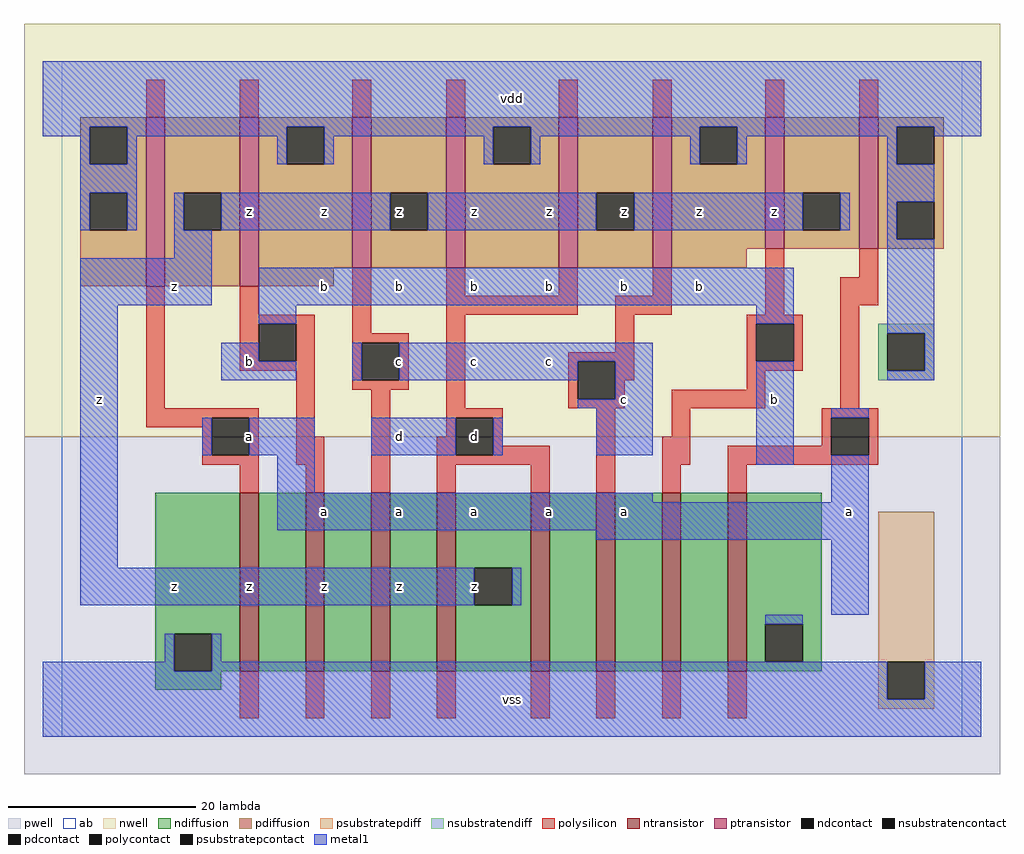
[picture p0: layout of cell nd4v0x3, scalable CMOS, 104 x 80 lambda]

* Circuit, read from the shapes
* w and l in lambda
.subckt nd4v0x3 a b c d vdd vss z
M1 n1 a vss vss nfet w=19 l=2
M2 n2 b n1 vss nfet w=19 l=2
M3 n3 c n2 vss nfet w=19 l=2
M4 z d n3 vss nfet w=19 l=2
M5 n4 d z vss nfet w=19 l=2
M6 n5 c n4 vss nfet w=19 l=2
M7 n6 b n5 vss nfet w=19 l=2
M8 vss a n6 vss nfet w=19 l=2
M9 z a vdd vdd pfet w=18 l=2
M10 vdd b z vdd pfet w=18 l=2
M11 z c vdd vdd pfet w=16 l=2 m=2
M12 vdd d z vdd pfet w=16 l=2 m=2
M13 z b vdd vdd pfet w=14 l=2
M14 vdd a z vdd pfet w=14 l=2
.ends

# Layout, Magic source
magic
tech scmos
<< ab >>
rect 0 0 96 72
<< pwell >>
rect -4 -4 100 32
<< nwell >>
rect -4 32 100 76
<< polysilicon >>
rect 9 66 11 70
rect 19 66 21 70
rect 31 66 33 70
rect 41 66 43 70
rect 53 66 55 70
rect 63 66 65 70
rect 75 66 77 70
rect 85 66 87 70
rect 9 35 11 48
rect 19 45 21 48
rect 19 44 27 45
rect 19 40 21 44
rect 25 40 27 44
rect 19 39 27 40
rect 9 34 21 35
rect 9 33 16 34
rect 15 30 16 33
rect 20 30 21 34
rect 15 29 21 30
rect 25 32 27 39
rect 31 43 33 50
rect 41 47 43 50
rect 53 47 55 50
rect 63 47 65 50
rect 41 45 55 47
rect 59 45 65 47
rect 75 45 77 52
rect 85 49 87 52
rect 83 46 87 49
rect 31 42 37 43
rect 31 38 32 42
rect 36 38 37 42
rect 31 37 37 38
rect 25 29 28 32
rect 19 26 21 29
rect 26 26 28 29
rect 33 26 35 37
rect 41 35 43 45
rect 59 41 61 45
rect 54 40 61 41
rect 54 36 55 40
rect 59 38 61 40
rect 73 44 79 45
rect 73 40 74 44
rect 78 40 79 44
rect 73 39 79 40
rect 59 36 60 38
rect 73 37 75 39
rect 54 35 60 36
rect 65 35 75 37
rect 83 35 85 46
rect 41 34 47 35
rect 41 32 42 34
rect 40 30 42 32
rect 46 31 47 34
rect 46 30 52 31
rect 40 29 52 30
rect 40 26 42 29
rect 50 26 52 29
rect 57 26 59 35
rect 65 32 67 35
rect 64 29 67 32
rect 81 34 87 35
rect 81 31 82 34
rect 71 30 82 31
rect 86 30 87 34
rect 71 29 87 30
rect 64 26 66 29
rect 71 26 73 29
rect 19 2 21 7
rect 26 2 28 7
rect 33 2 35 7
rect 40 2 42 7
rect 50 2 52 7
rect 57 2 59 7
rect 64 2 66 7
rect 71 2 73 7
<< ndiffusion >>
rect 10 11 19 26
rect 10 7 12 11
rect 16 7 19 11
rect 21 7 26 26
rect 28 7 33 26
rect 35 7 40 26
rect 42 18 50 26
rect 42 14 44 18
rect 48 14 50 18
rect 42 7 50 14
rect 52 7 57 26
rect 59 7 64 26
rect 66 7 71 26
rect 73 12 81 26
rect 73 8 75 12
rect 79 8 81 12
rect 73 7 81 8
rect 10 5 17 7
<< pdiffusion >>
rect 2 65 9 66
rect 2 61 3 65
rect 7 61 9 65
rect 2 58 9 61
rect 2 54 3 58
rect 7 54 9 58
rect 2 48 9 54
rect 11 58 19 66
rect 11 54 13 58
rect 17 54 19 58
rect 11 48 19 54
rect 21 65 31 66
rect 21 61 24 65
rect 28 61 31 65
rect 21 50 31 61
rect 33 58 41 66
rect 33 54 35 58
rect 39 54 41 58
rect 33 50 41 54
rect 43 65 53 66
rect 43 61 46 65
rect 50 61 53 65
rect 43 50 53 61
rect 55 58 63 66
rect 55 54 57 58
rect 61 54 63 58
rect 55 50 63 54
rect 65 65 75 66
rect 65 61 68 65
rect 72 61 75 65
rect 65 52 75 61
rect 77 58 85 66
rect 77 54 79 58
rect 83 54 85 58
rect 77 52 85 54
rect 87 65 94 66
rect 87 61 89 65
rect 93 61 94 65
rect 87 57 94 61
rect 87 53 89 57
rect 93 53 94 57
rect 87 52 94 53
rect 65 50 73 52
rect 21 48 29 50
<< metal1 >>
rect -2 65 98 72
rect -2 64 3 65
rect 2 61 3 64
rect 7 64 24 65
rect 7 61 8 64
rect 23 61 24 64
rect 28 64 46 65
rect 28 61 29 64
rect 45 61 46 64
rect 50 64 68 65
rect 50 61 51 64
rect 67 61 68 64
rect 72 64 89 65
rect 72 61 73 64
rect 88 61 89 64
rect 93 64 98 65
rect 2 58 8 61
rect 2 54 3 58
rect 7 54 8 58
rect 12 54 13 58
rect 17 54 35 58
rect 39 54 57 58
rect 61 54 79 58
rect 83 54 84 58
rect 88 57 93 61
rect 12 51 16 54
rect 2 46 16 51
rect 88 53 89 57
rect 21 46 78 50
rect 2 18 6 46
rect 21 44 25 46
rect 17 40 21 42
rect 74 44 78 46
rect 17 38 25 40
rect 31 38 32 42
rect 36 40 63 42
rect 36 38 55 40
rect 59 36 63 40
rect 55 35 63 36
rect 15 30 16 34
rect 20 30 27 34
rect 33 30 42 34
rect 46 30 47 34
rect 57 30 63 35
rect 23 26 27 30
rect 74 29 78 40
rect 88 43 93 53
rect 92 39 93 43
rect 88 38 93 39
rect 82 34 86 35
rect 23 25 63 26
rect 82 25 86 30
rect 23 22 86 25
rect 57 21 86 22
rect 2 14 44 18
rect 48 14 49 18
rect 82 13 86 21
rect 75 12 79 13
rect 11 8 12 11
rect -2 7 12 8
rect 16 8 17 11
rect 16 7 88 8
rect -2 4 88 7
rect 92 4 98 8
rect -2 0 98 4
<< ntransistor >>
rect 19 7 21 26
rect 26 7 28 26
rect 33 7 35 26
rect 40 7 42 26
rect 50 7 52 26
rect 57 7 59 26
rect 64 7 66 26
rect 71 7 73 26
<< ptransistor >>
rect 9 48 11 66
rect 19 48 21 66
rect 31 50 33 66
rect 41 50 43 66
rect 53 50 55 66
rect 63 50 65 66
rect 75 52 77 66
rect 85 52 87 66
<< polycontact >>
rect 21 40 25 44
rect 16 30 20 34
rect 32 38 36 42
rect 55 36 59 40
rect 74 40 78 44
rect 42 30 46 34
rect 82 30 86 34
<< ndcontact >>
rect 12 7 16 11
rect 44 14 48 18
rect 75 8 79 12
<< pdcontact >>
rect 3 61 7 65
rect 3 54 7 58
rect 13 54 17 58
rect 24 61 28 65
rect 35 54 39 58
rect 46 61 50 65
rect 57 54 61 58
rect 68 61 72 65
rect 79 54 83 58
rect 89 61 93 65
rect 89 53 93 57
<< psubstratepcontact >>
rect 88 4 92 8
<< nsubstratencontact >>
rect 88 39 92 43
<< psubstratepdiff >>
rect 87 8 93 24
rect 87 4 88 8
rect 92 4 93 8
rect 87 3 93 4
<< nsubstratendiff >>
rect 87 43 93 44
rect 87 39 88 43
rect 92 39 93 43
rect 87 38 93 39
<< labels >>
rlabel metal1 12 16 12 16 6 z
rlabel metal1 4 36 4 36 6 z
rlabel metal1 12 48 12 48 6 z
rlabel metal1 28 16 28 16 6 z
rlabel metal1 20 16 20 16 6 z
rlabel metal1 28 24 28 24 6 a
rlabel metal1 20 32 20 32 6 a
rlabel metal1 20 40 20 40 6 b
rlabel metal1 28 48 28 48 6 b
rlabel metal1 28 56 28 56 6 z
rlabel metal1 20 56 20 56 6 z
rlabel metal1 48 4 48 4 6 vss
rlabel metal1 44 16 44 16 6 z
rlabel metal1 36 16 36 16 6 z
rlabel metal1 36 24 36 24 6 a
rlabel metal1 44 24 44 24 6 a
rlabel metal1 52 24 52 24 6 a
rlabel polycontact 44 32 44 32 6 d
rlabel metal1 36 32 36 32 6 d
rlabel metal1 36 40 36 40 6 c
rlabel metal1 44 40 44 40 6 c
rlabel metal1 52 40 52 40 6 c
rlabel metal1 36 48 36 48 6 b
rlabel metal1 44 48 44 48 6 b
rlabel metal1 52 48 52 48 6 b
rlabel metal1 44 56 44 56 6 z
rlabel metal1 52 56 52 56 6 z
rlabel pdcontact 36 56 36 56 6 z
rlabel metal1 48 68 48 68 6 vdd
rlabel metal1 60 24 60 24 6 a
rlabel metal1 60 36 60 36 6 c
rlabel metal1 76 36 76 36 6 b
rlabel metal1 60 48 60 48 6 b
rlabel metal1 68 48 68 48 6 b
rlabel metal1 68 56 68 56 6 z
rlabel metal1 76 56 76 56 6 z
rlabel pdcontact 60 56 60 56 6 z
rlabel metal1 84 24 84 24 6 a
<< end >>
